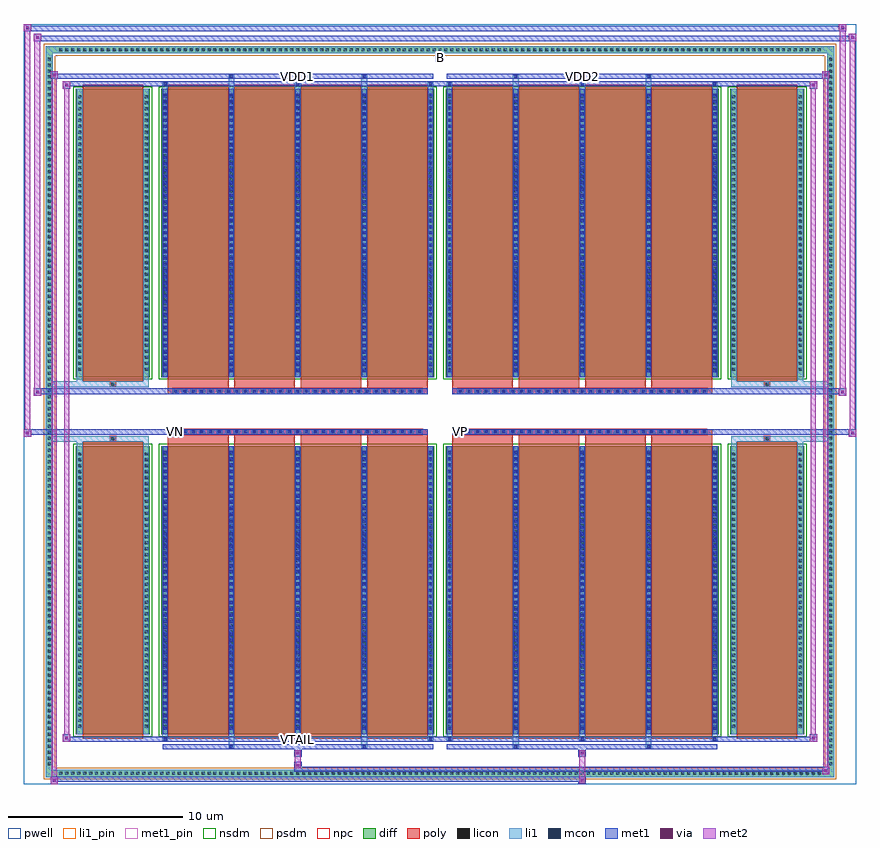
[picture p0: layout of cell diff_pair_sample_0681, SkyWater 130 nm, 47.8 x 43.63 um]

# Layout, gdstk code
import gdstk
lib = gdstk.Library(unit=1e-6, precision=5e-09)
def R(c, l, rs):  # rectangles x0, y0, x1, y1
    for r in rs: c.add(gdstk.rectangle(r[:2], r[2:], *l))
def A(c, l, x, y, w, h, nx, ny, dx, dy):  # array of equal rectangles
    R(c, l, [(x+i*dx, y+j*dy, x+i*dx+w, y+j*dy+h) for i in range(nx) for j in range(ny)])
def P(c, l, *ps):  # polygons
    for p in ps: c.add(gdstk.Polygon(p, *l))
pwell = (64, 44)
diff = (65, 20)
poly = (66, 20)
licon = (66, 44)
li1_pin = (67, 16)
li1 = (67, 20)
mcon = (67, 44)
met1_pin = (68, 16)
met1 = (68, 20)
via = (68, 44)
met2 = (69, 20)
nsdm = (93, 44)
psdm = (94, 20)
npc = (95, 20)

diff_pair_sample_0681 = lib.new_cell('diff_pair_sample_0681')
R(diff_pair_sample_0681, pwell, [(-23.9,-21.38,23.9,22.25), (-21.22,-19.57,-0.01,-0.805), (0.01,-19.57,21.22,-0.805), (-21.22,0.805,-0.01,19.57), (0.01,0.805,21.22,19.57)])
A(diff_pair_sample_0681, diff, -21.965, -20.98, 0.41, 0.41, 129, 2, 0.34, 41.55)
A(diff_pair_sample_0681, diff, -22.63, -20.435, 0.41, 0.41, 1, 120, 0, 0.34)
A(diff_pair_sample_0681, diff, 22.22, -20.435, 0.41, 0.41, 1, 120, 0, 0.34)
R(diff_pair_sample_0681, diff, [(-21.965,-20.98,21.965,-20.57), (-22.63,-20.435,-22.22,20.435), (22.22,-20.435,22.63,20.435), (-20.91,-18.525,-16.65,-1.985), (-16.01,-18.525,-0.32,-1.985), (0.32,-18.525,16.01,-1.985), (16.65,-18.525,20.91,-1.985), (-20.91,1.985,-16.65,18.525), (-16.01,1.985,-0.32,18.525), (0.32,1.985,16.01,18.525), (16.65,1.985,20.91,18.525), (-21.965,20.57,21.965,20.98)])
P(diff_pair_sample_0681, diff, [(22.63,20.98),(-22.63,20.98),(-22.63,-20.57),(-22.22,-20.57),(-22.22,20.57),(22.22,20.57),(22.22,-20.57),(-22.22,-20.57),(-22.63,-20.57),(-22.63,-20.98),(22.63,-20.98)])
A(diff_pair_sample_0681, poly, -15.62, -18.775, 3.48, 17.04, 4, 2, 3.81, 20.51)
A(diff_pair_sample_0681, poly, 0.71, -18.775, 3.48, 17.04, 4, 2, 3.81, 20.51)
A(diff_pair_sample_0681, poly, -15.62, -1.735, 3.48, 0.4, 4, 2, 3.81, 3.07)
A(diff_pair_sample_0681, poly, 0.71, -1.735, 3.48, 0.4, 4, 2, 3.81, 3.07)
A(diff_pair_sample_0681, poly, -15.33, -1.335, 0.33, 0.33, 29, 2, 0.5, 2.34)
A(diff_pair_sample_0681, poly, 1, -1.335, 0.33, 0.33, 29, 2, 0.5, 2.34)
R(diff_pair_sample_0681, poly, [(-20.52,-18.775,-17.04,-1.735), (17.04,-18.775,20.52,-1.735), (-18.945,-1.735,-18.615,-1.405), (-18.945,-1.735,-18.615,-1.405), (18.615,-1.735,18.945,-1.405), (18.615,-1.735,18.945,-1.405), (-15.62,-1.335,-0.71,-1.005), (0.71,-1.335,15.62,-1.005), (-15.62,1.005,-0.71,1.335), (0.71,1.005,15.62,1.335), (-18.945,1.405,-18.615,1.735), (-18.945,1.405,-18.615,1.735), (18.615,1.405,18.945,1.735), (18.615,1.405,18.945,1.735), (-20.52,1.735,-17.04,18.775), (17.04,1.735,20.52,18.775)])
A(diff_pair_sample_0681, licon, -21.845, -20.86, 0.17, 0.17, 129, 2, 0.34, 41.55)
A(diff_pair_sample_0681, licon, -22.51, -20.315, 0.17, 0.17, 1, 120, 0, 0.34)
A(diff_pair_sample_0681, licon, 22.34, -20.315, 0.17, 0.17, 1, 120, 0, 0.34)
A(diff_pair_sample_0681, licon, -20.77, -18.16, 0.17, 0.17, 1, 47, 0, 0.34)
A(diff_pair_sample_0681, licon, -16.96, -18.16, 0.17, 0.17, 1, 47, 0, 0.34)
A(diff_pair_sample_0681, licon, -15.87, -18.16, 0.17, 0.17, 5, 47, 3.81, 0.34)
A(diff_pair_sample_0681, licon, 0.46, -18.16, 0.17, 0.17, 5, 47, 3.81, 0.34)
A(diff_pair_sample_0681, licon, 16.79, -18.16, 0.17, 0.17, 1, 47, 0, 0.34)
A(diff_pair_sample_0681, licon, 20.6, -18.16, 0.17, 0.17, 1, 47, 0, 0.34)
A(diff_pair_sample_0681, licon, -15.25, -1.255, 0.17, 0.17, 29, 2, 0.5, 2.34)
A(diff_pair_sample_0681, licon, 1.08, -1.255, 0.17, 0.17, 29, 2, 0.5, 2.34)
A(diff_pair_sample_0681, licon, -20.77, 2.35, 0.17, 0.17, 1, 47, 0, 0.34)
A(diff_pair_sample_0681, licon, -16.96, 2.35, 0.17, 0.17, 1, 47, 0, 0.34)
A(diff_pair_sample_0681, licon, -15.87, 2.35, 0.17, 0.17, 5, 47, 3.81, 0.34)
A(diff_pair_sample_0681, licon, 0.46, 2.35, 0.17, 0.17, 5, 47, 3.81, 0.34)
A(diff_pair_sample_0681, licon, 16.79, 2.35, 0.17, 0.17, 1, 47, 0, 0.34)
A(diff_pair_sample_0681, licon, 20.6, 2.35, 0.17, 0.17, 1, 47, 0, 0.34)
R(diff_pair_sample_0681, licon, [(-18.865,-1.655,-18.695,-1.485), (18.695,-1.655,18.865,-1.485), (-18.865,1.485,-18.695,1.655), (18.695,1.485,18.865,1.655)])
R(diff_pair_sample_0681, li1_pin, [(-0.25,20.07,0.25,20.57)])
A(diff_pair_sample_0681, li1, -21.925, -20.94, 0.33, 0.33, 129, 2, 0.34, 41.55)
A(diff_pair_sample_0681, li1, -22.59, -20.395, 0.33, 0.33, 1, 120, 0, 0.34)
A(diff_pair_sample_0681, li1, 22.26, -20.395, 0.33, 0.33, 1, 120, 0, 0.34)
A(diff_pair_sample_0681, li1, -15.95, -18.9, 0.33, 0.375, 3, 2, 7.62, 37.425)
A(diff_pair_sample_0681, li1, -15.87, -18.9, 0.17, 0.17, 3, 2, 7.62, 37.63)
A(diff_pair_sample_0681, li1, 0.38, -18.9, 0.33, 0.375, 3, 2, 7.62, 37.425)
A(diff_pair_sample_0681, li1, 0.46, -18.9, 0.17, 0.17, 3, 2, 7.62, 37.63)
A(diff_pair_sample_0681, li1, -15.95, -18.525, 0.33, 16.54, 5, 2, 3.81, 20.51)
A(diff_pair_sample_0681, li1, 0.38, -18.525, 0.33, 16.54, 5, 2, 3.81, 20.51)
A(diff_pair_sample_0681, li1, -15.87, -18.26, 0.17, 0.17, 5, 45, 3.81, 0.36)
A(diff_pair_sample_0681, li1, -15.87, -18.26, 0.17, 16.01, 5, 2, 3.81, 20.51)
A(diff_pair_sample_0681, li1, 0.46, -18.26, 0.17, 0.17, 5, 45, 3.81, 0.36)
A(diff_pair_sample_0681, li1, 0.46, -18.26, 0.17, 16.01, 5, 2, 3.81, 20.51)
A(diff_pair_sample_0681, li1, -20.85, -18.24, 0.33, 0.33, 1, 47, 0, 0.34)
A(diff_pair_sample_0681, li1, -17.04, -18.24, 0.33, 0.33, 1, 47, 0, 0.34)
A(diff_pair_sample_0681, li1, -15.95, -18.24, 0.33, 0.33, 5, 47, 3.81, 0.34)
A(diff_pair_sample_0681, li1, 0.38, -18.24, 0.33, 0.33, 5, 47, 3.81, 0.34)
A(diff_pair_sample_0681, li1, 16.71, -18.24, 0.33, 0.33, 1, 47, 0, 0.34)
A(diff_pair_sample_0681, li1, 20.52, -18.24, 0.33, 0.33, 1, 47, 0, 0.34)
A(diff_pair_sample_0681, li1, -15.33, -1.335, 0.33, 0.33, 29, 2, 0.5, 2.34)
A(diff_pair_sample_0681, li1, 1, -1.335, 0.33, 0.33, 29, 2, 0.5, 2.34)
A(diff_pair_sample_0681, li1, -15.87, 2.25, 0.17, 0.17, 5, 45, 3.81, 0.36)
A(diff_pair_sample_0681, li1, 0.46, 2.25, 0.17, 0.17, 5, 45, 3.81, 0.36)
A(diff_pair_sample_0681, li1, -20.85, 2.27, 0.33, 0.33, 1, 47, 0, 0.34)
A(diff_pair_sample_0681, li1, -17.04, 2.27, 0.33, 0.33, 1, 47, 0, 0.34)
A(diff_pair_sample_0681, li1, -15.95, 2.27, 0.33, 0.33, 5, 47, 3.81, 0.34)
A(diff_pair_sample_0681, li1, 0.38, 2.27, 0.33, 0.33, 5, 47, 3.81, 0.34)
A(diff_pair_sample_0681, li1, 16.71, 2.27, 0.33, 0.33, 1, 47, 0, 0.34)
A(diff_pair_sample_0681, li1, 20.52, 2.27, 0.33, 0.33, 1, 47, 0, 0.34)
R(diff_pair_sample_0681, li1, [(-22.63,-20.98,-22.22,-20.57), (-22.63,-20.98,-22.22,-20.57), (-22.22,-20.98,22.22,-20.57), (22.22,-20.98,22.63,-20.57), (22.22,-20.98,22.63,-20.57), (-22.63,-20.57,-22.22,20.57), (22.22,-20.57,22.63,20.57), (-12.14,-19.33,-11.81,-18.525), (-12.06,-19.33,-11.89,-19.16), (-4.52,-19.33,-4.19,-18.525), (-4.44,-19.33,-4.27,-19.16), (4.19,-19.33,4.52,-18.525), (4.27,-19.33,4.44,-19.16), (11.81,-19.33,12.14,-18.525), (11.89,-19.33,12.06,-19.16), (-20.85,-18.525,-20.52,-1.985), (-17.04,-18.525,-16.71,-1.985), (16.71,-18.525,17.04,-1.985), (20.52,-18.525,20.85,-1.985), (-20.85,-1.985,-20.52,-1.405), (-17.04,-1.985,-16.71,-1.405), (16.71,-1.985,17.04,-1.405), (20.52,-1.985,20.85,-1.405), (-22.63,-1.735,-18.945,-1.405), (-20.85,-1.735,-18.945,-1.405), (-18.945,-1.735,-18.615,-1.405), (-18.615,-1.735,-16.71,-1.405), (16.71,-1.735,18.615,-1.405), (18.615,-1.735,18.945,-1.405), (18.615,-1.735,22.63,-1.405), (18.945,-1.735,20.85,-1.405), (-22.63,1.405,-18.945,1.735), (-20.85,1.405,-18.945,1.735), (-20.85,1.405,-20.52,1.985), (-18.945,1.405,-18.615,1.735), (-18.615,1.405,-16.71,1.735), (-17.04,1.405,-16.71,1.985), (16.71,1.405,18.615,1.735), (16.71,1.405,17.04,1.985), (18.615,1.405,18.945,1.735), (18.615,1.405,22.63,1.735), (18.945,1.405,20.85,1.735), (20.52,1.405,20.85,1.985), (-20.85,1.985,-20.52,18.525), (-17.04,1.985,-16.71,18.525), (16.71,1.985,17.04,18.525), (20.52,1.985,20.85,18.525), (-12.14,18.525,-11.81,19.33), (-4.52,18.525,-4.19,19.33), (4.19,18.525,4.52,19.33), (11.81,18.525,12.14,19.33), (-12.06,19.16,-11.89,19.33), (-4.44,19.16,-4.27,19.33), (4.27,19.16,4.44,19.33), (11.89,19.16,12.06,19.33), (-22.63,20.57,-22.22,20.98), (-22.63,20.57,-22.22,20.98), (-22.22,20.57,22.22,20.98), (22.22,20.57,22.63,20.98), (22.22,20.57,22.63,20.98)])
A(diff_pair_sample_0681, mcon, -15.87, -18.9, 0.17, 0.17, 3, 2, 7.62, 37.63)
A(diff_pair_sample_0681, mcon, 0.46, -18.9, 0.17, 0.17, 3, 2, 7.62, 37.63)
A(diff_pair_sample_0681, mcon, -15.87, -18.26, 0.17, 0.17, 5, 45, 3.81, 0.36)
A(diff_pair_sample_0681, mcon, 0.46, -18.26, 0.17, 0.17, 5, 45, 3.81, 0.36)
A(diff_pair_sample_0681, mcon, -15.25, -1.255, 0.17, 0.17, 29, 2, 0.5, 2.34)
A(diff_pair_sample_0681, mcon, 1.08, -1.255, 0.17, 0.17, 29, 2, 0.5, 2.34)
A(diff_pair_sample_0681, mcon, -15.87, 2.25, 0.17, 0.17, 5, 45, 3.81, 0.36)
A(diff_pair_sample_0681, mcon, 0.46, 2.25, 0.17, 0.17, 5, 45, 3.81, 0.36)
R(diff_pair_sample_0681, mcon, [(-12.06,-19.33,-11.89,-19.16), (-4.44,-19.33,-4.27,-19.16), (4.27,-19.33,4.44,-19.16), (11.89,-19.33,12.06,-19.16), (-12.06,19.16,-11.89,19.33), (-4.44,19.16,-4.27,19.33), (4.27,19.16,4.44,19.33), (11.89,19.16,12.06,19.33)])
R(diff_pair_sample_0681, met1_pin, [(-8.3,-18.94,-8.03,-18.67), (-15.3,-1.295,-15.03,-1.025), (1.03,-1.295,1.3,-1.025), (-8.3,19.12,-8.03,19.39), (8.03,19.12,8.3,19.39)])
A(diff_pair_sample_0681, met1, -15.93, -18.96, 0.29, 0.29, 3, 2, 7.62, 37.63)
A(diff_pair_sample_0681, met1, 0.4, -18.96, 0.29, 0.29, 3, 2, 7.62, 37.63)
A(diff_pair_sample_0681, met1, -15.93, -18.525, 0.29, 16.54, 5, 2, 3.81, 20.51)
A(diff_pair_sample_0681, met1, 0.4, -18.525, 0.29, 16.54, 5, 2, 3.81, 20.51)
A(diff_pair_sample_0681, met1, -15.93, -18.32, 0.29, 0.29, 5, 45, 3.81, 0.36)
A(diff_pair_sample_0681, met1, 0.4, -18.32, 0.29, 0.29, 5, 45, 3.81, 0.36)
A(diff_pair_sample_0681, met1, -15.31, -1.315, 0.29, 0.29, 29, 2, 0.5, 2.34)
A(diff_pair_sample_0681, met1, 1.02, -1.315, 0.29, 0.29, 29, 2, 0.5, 2.34)
A(diff_pair_sample_0681, met1, -15.93, 2.19, 0.29, 0.29, 5, 45, 3.81, 0.36)
A(diff_pair_sample_0681, met1, 0.4, 2.19, 0.29, 0.29, 5, 45, 3.81, 0.36)
R(diff_pair_sample_0681, met1, [(-22.36,-21.38,-21.93,-20.95), (7.95,-21.38,8.38,-20.95), (-22.36,-21.24,8.38,-20.95), (21.93,-20.81,22.36,-20.38), (-8.38,-20.67,22.36,-20.38), (-8.38,-20.53,-7.95,-20.1), (-8.38,-19.82,-7.95,-19.39), (7.95,-19.82,8.38,-19.39), (-15.93,-19.39,-0.4,-19.1), (-12.12,-19.39,-11.83,-19.1), (-4.5,-19.39,-4.21,-19.1), (0.4,-19.39,15.93,-19.1), (4.21,-19.39,4.5,-19.1), (11.83,-19.39,12.12,-19.1), (-21.65,-18.96,-21.22,-18.53), (-21.65,-18.96,-15.93,-18.67), (-15.93,-18.96,-0.4,-18.67), (-0.4,-18.96,0.4,-18.67), (0.4,-18.96,15.93,-18.67), (15.93,-18.96,21.65,-18.67), (21.22,-18.96,21.65,-18.53), (-23.9,-1.435,-23.47,-1.005), (23.47,-1.435,23.9,-1.005), (-23.9,-1.335,-0.71,-1.005), (-15.62,-1.335,-0.71,-1.005), (0.71,-1.335,15.62,-1.005), (0.71,-1.335,23.9,-1.005), (-23.33,0.905,-22.9,1.335), (22.9,0.905,23.33,1.335), (-23.33,1.005,-15.62,1.335), (-15.62,1.005,-0.71,1.335), (0.71,1.005,15.62,1.335), (15.62,1.005,23.33,1.335), (-21.65,18.53,-21.22,18.96), (21.22,18.53,21.65,18.96), (-21.65,18.67,-15.93,18.96), (-15.93,18.67,-0.4,18.96), (-0.4,18.67,0.4,18.96), (0.4,18.67,15.93,18.96), (15.93,18.67,21.65,18.96), (-22.36,19.1,-21.93,19.53), (-22.36,19.1,-15.93,19.39), (-15.93,19.1,-0.4,19.39), (-12.12,19.1,-11.83,19.39), (-4.5,19.1,-4.21,19.39), (0.4,19.1,15.93,19.39), (4.21,19.1,4.5,19.39), (11.83,19.1,12.12,19.39), (15.93,19.1,22.36,19.39), (21.93,19.1,22.36,19.53), (-23.33,21.25,-22.9,21.68), (-23.33,21.25,-21.22,21.58), (-21.22,21.25,21.22,21.58), (21.22,21.25,23.9,21.58), (23.47,21.25,23.9,21.68), (-23.9,21.82,-23.47,22.25), (-23.9,21.82,-21.22,22.15), (-21.22,21.82,21.22,22.15), (21.22,21.82,23.33,22.15), (22.9,21.82,23.33,22.25)])
R(diff_pair_sample_0681, via, [(-22.22,-21.24,-22.07,-21.09), (8.09,-21.24,8.24,-21.09), (22.07,-20.67,22.22,-20.52), (-8.24,-20.39,-8.09,-20.24), (-8.24,-19.68,-8.09,-19.53), (8.09,-19.68,8.24,-19.53), (-21.51,-18.82,-21.36,-18.67), (21.36,-18.82,21.51,-18.67), (-23.76,-1.295,-23.61,-1.145), (23.61,-1.295,23.76,-1.145), (-23.19,1.045,-23.04,1.195), (23.04,1.045,23.19,1.195), (-21.51,18.67,-21.36,18.82), (21.36,18.67,21.51,18.82), (-22.22,19.24,-22.07,19.39), (22.07,19.24,22.22,19.39), (-23.19,21.39,-23.04,21.54), (23.61,21.39,23.76,21.54), (-23.76,21.96,-23.61,22.11), (23.04,21.96,23.19,22.11)])
R(diff_pair_sample_0681, met2, [(-22.36,-21.38,-21.93,-20.95), (-22.29,-21.38,-22,19.53), (-22,-21.38,-21.93,-20.95), (-22.31,-21.33,-21.98,-21), (8,-21.33,8.33,-21), (8,-21,8.33,-19.77), (21.93,-20.81,22.36,-20.38), (22,-20.81,22.29,19.53), (22.29,-20.81,22.36,-20.38), (21.98,-20.76,22.31,-20.43), (-8.33,-20.48,-8,-20.15), (-8.33,-20.15,-8,-19.77), (-8.33,-19.77,-8,-19.44), (8,-19.77,8.33,-19.44), (-21.65,-18.96,-21.22,-18.53), (-21.58,-18.96,-21.29,18.96), (-21.29,-18.96,-21.22,-18.53), (21.22,-18.96,21.65,-18.53), (21.29,-18.96,21.58,18.96), (21.58,-18.96,21.65,-18.53), (-21.6,-18.91,-21.27,-18.58), (21.27,-18.91,21.6,-18.58), (-23.9,-1.435,-23.47,-1.005), (-23.85,-1.435,-23.52,22.25), (-23.52,-1.435,-23.47,-1.005), (23.47,-1.435,23.9,-1.005), (23.52,-1.435,23.85,21.68), (23.85,-1.435,23.9,-1.005), (-23.85,-1.385,-23.52,-1.055), (23.52,-1.385,23.85,-1.055), (-23.33,0.905,-22.9,1.335), (-23.28,0.905,-22.95,21.68), (-22.95,0.905,-22.9,1.335), (22.9,0.905,23.33,1.335), (22.95,0.905,23.28,22.25), (23.28,0.905,23.33,1.335), (-23.28,0.955,-22.95,1.285), (22.95,0.955,23.28,1.285), (-21.65,18.53,-21.22,18.96), (-21.29,18.53,-21.22,18.96), (21.22,18.53,21.65,18.96), (21.58,18.53,21.65,18.96), (-21.6,18.58,-21.27,18.91), (21.27,18.58,21.6,18.91), (-22.36,19.1,-21.93,19.53), (-22,19.1,-21.93,19.53), (21.93,19.1,22.36,19.53), (22.29,19.1,22.36,19.53), (-22.31,19.15,-21.98,19.48), (21.98,19.15,22.31,19.48), (-23.33,21.25,-22.9,21.68), (-22.95,21.25,-22.9,21.68), (23.47,21.25,23.9,21.68), (23.85,21.25,23.9,21.68), (-23.28,21.3,-22.95,21.63), (23.52,21.3,23.85,21.63), (-23.9,21.82,-23.47,22.25), (-23.52,21.82,-23.47,22.25), (22.9,21.82,23.33,22.25), (23.28,21.82,23.33,22.25), (-23.85,21.87,-23.52,22.2), (22.95,21.87,23.28,22.2)])
R(diff_pair_sample_0681, nsdm, [(-21.04,-18.655,-16.52,-1.855), (-16.14,-18.655,-0.19,-1.855), (0.19,-18.655,16.14,-1.855), (16.52,-18.655,21.04,-1.855), (-21.04,1.855,-16.52,18.655), (-16.14,1.855,-0.19,18.655), (0.19,1.855,16.14,18.655), (16.52,1.855,21.04,18.655)])
P(diff_pair_sample_0681, psdm, [(22.76,21.11),(-22.76,21.11),(-22.76,-20.44),(-22.09,-20.44),(-22.09,20.44),(22.09,20.44),(22.09,-20.44),(-22.09,-20.44),(-22.76,-20.44),(-22.76,-21.11),(22.76,-21.11)])
A(diff_pair_sample_0681, npc, -15.35, -1.355, 0.37, 0.37, 29, 2, 0.5, 2.34)
A(diff_pair_sample_0681, npc, 0.98, -1.355, 0.37, 0.37, 29, 2, 0.5, 2.34)
R(diff_pair_sample_0681, npc, [(-18.965,-1.755,-18.595,-1.385), (18.595,-1.755,18.965,-1.385), (-15.35,-1.355,-14.48,-0.985), (-15.35,-1.355,-14.48,-0.985), (-14.85,-1.355,-13.98,-0.985), (-14.85,-1.355,-13.98,-0.985), (-14.35,-1.355,-13.48,-0.985), (-14.35,-1.355,-13.48,-0.985), (-13.85,-1.355,-12.98,-0.985), (-13.85,-1.355,-12.98,-0.985), (-13.35,-1.355,-12.48,-0.985), (-13.35,-1.355,-12.48,-0.985), (-12.85,-1.355,-11.98,-0.985), (-12.85,-1.355,-11.98,-0.985), (-12.35,-1.355,-11.48,-0.985), (-12.35,-1.355,-11.48,-0.985), (-11.85,-1.355,-10.98,-0.985), (-11.85,-1.355,-10.98,-0.985), (-11.35,-1.355,-10.48,-0.985), (-11.35,-1.355,-10.48,-0.985), (-10.85,-1.355,-9.98,-0.985), (-10.85,-1.355,-9.98,-0.985), (-10.35,-1.355,-9.48,-0.985), (-10.35,-1.355,-9.48,-0.985), (-9.85,-1.355,-8.98,-0.985), (-9.85,-1.355,-8.98,-0.985), (-9.35,-1.355,-8.48,-0.985), (-9.35,-1.355,-8.48,-0.985), (-8.85,-1.355,-7.98,-0.985), (-8.85,-1.355,-7.98,-0.985), (-8.35,-1.355,-7.48,-0.985), (-8.35,-1.355,-7.48,-0.985), (-7.85,-1.355,-6.98,-0.985), (-7.85,-1.355,-6.98,-0.985), (-7.35,-1.355,-6.48,-0.985), (-7.35,-1.355,-6.48,-0.985), (-6.85,-1.355,-5.98,-0.985), (-6.85,-1.355,-5.98,-0.985), (-6.35,-1.355,-5.48,-0.985), (-6.35,-1.355,-5.48,-0.985), (-5.85,-1.355,-4.98,-0.985), (-5.85,-1.355,-4.98,-0.985), (-5.35,-1.355,-4.48,-0.985), (-5.35,-1.355,-4.48,-0.985), (-4.85,-1.355,-3.98,-0.985), (-4.85,-1.355,-3.98,-0.985), (-4.35,-1.355,-3.48,-0.985), (-4.35,-1.355,-3.48,-0.985), (-3.85,-1.355,-2.98,-0.985), (-3.85,-1.355,-2.98,-0.985), (-3.35,-1.355,-2.48,-0.985), (-3.35,-1.355,-2.48,-0.985), (-2.85,-1.355,-1.98,-0.985), (-2.85,-1.355,-1.98,-0.985), (-2.35,-1.355,-1.48,-0.985), (-2.35,-1.355,-1.48,-0.985), (-1.85,-1.355,-0.98,-0.985), (-1.85,-1.355,-0.98,-0.985), (0.98,-1.355,1.85,-0.985), (0.98,-1.355,1.85,-0.985), (1.48,-1.355,2.35,-0.985), (1.48,-1.355,2.35,-0.985), (1.98,-1.355,2.85,-0.985), (1.98,-1.355,2.85,-0.985), (2.48,-1.355,3.35,-0.985), (2.48,-1.355,3.35,-0.985), (2.98,-1.355,3.85,-0.985), (2.98,-1.355,3.85,-0.985), (3.48,-1.355,4.35,-0.985), (3.48,-1.355,4.35,-0.985), (3.98,-1.355,4.85,-0.985), (3.98,-1.355,4.85,-0.985), (4.48,-1.355,5.35,-0.985), (4.48,-1.355,5.35,-0.985), (4.98,-1.355,5.85,-0.985), (4.98,-1.355,5.85,-0.985), (5.48,-1.355,6.35,-0.985), (5.48,-1.355,6.35,-0.985), (5.98,-1.355,6.85,-0.985), (5.98,-1.355,6.85,-0.985), (6.48,-1.355,7.35,-0.985), (6.48,-1.355,7.35,-0.985), (6.98,-1.355,7.85,-0.985), (6.98,-1.355,7.85,-0.985), (7.48,-1.355,8.35,-0.985), (7.48,-1.355,8.35,-0.985), (7.98,-1.355,8.85,-0.985), (7.98,-1.355,8.85,-0.985), (8.48,-1.355,9.35,-0.985), (8.48,-1.355,9.35,-0.985), (8.98,-1.355,9.85,-0.985), (8.98,-1.355,9.85,-0.985), (9.48,-1.355,10.35,-0.985), (9.48,-1.355,10.35,-0.985), (9.98,-1.355,10.85,-0.985), (9.98,-1.355,10.85,-0.985), (10.48,-1.355,11.35,-0.985), (10.48,-1.355,11.35,-0.985), (10.98,-1.355,11.85,-0.985), (10.98,-1.355,11.85,-0.985), (11.48,-1.355,12.35,-0.985), (11.48,-1.355,12.35,-0.985), (11.98,-1.355,12.85,-0.985), (11.98,-1.355,12.85,-0.985), (12.48,-1.355,13.35,-0.985), (12.48,-1.355,13.35,-0.985), (12.98,-1.355,13.85,-0.985), (12.98,-1.355,13.85,-0.985), (13.48,-1.355,14.35,-0.985), (13.48,-1.355,14.35,-0.985), (13.98,-1.355,14.85,-0.985), (13.98,-1.355,14.85,-0.985), (14.48,-1.355,15.35,-0.985), (14.48,-1.355,15.35,-0.985), (-15.35,0.985,-14.48,1.355), (-15.35,0.985,-14.48,1.355), (-14.85,0.985,-13.98,1.355), (-14.85,0.985,-13.98,1.355), (-14.35,0.985,-13.48,1.355), (-14.35,0.985,-13.48,1.355), (-13.85,0.985,-12.98,1.355), (-13.85,0.985,-12.98,1.355), (-13.35,0.985,-12.48,1.355), (-13.35,0.985,-12.48,1.355), (-12.85,0.985,-11.98,1.355), (-12.85,0.985,-11.98,1.355), (-12.35,0.985,-11.48,1.355), (-12.35,0.985,-11.48,1.355), (-11.85,0.985,-10.98,1.355), (-11.85,0.985,-10.98,1.355), (-11.35,0.985,-10.48,1.355), (-11.35,0.985,-10.48,1.355), (-10.85,0.985,-9.98,1.355), (-10.85,0.985,-9.98,1.355), (-10.35,0.985,-9.48,1.355), (-10.35,0.985,-9.48,1.355), (-9.85,0.985,-8.98,1.355), (-9.85,0.985,-8.98,1.355), (-9.35,0.985,-8.48,1.355), (-9.35,0.985,-8.48,1.355), (-8.85,0.985,-7.98,1.355), (-8.85,0.985,-7.98,1.355), (-8.35,0.985,-7.48,1.355), (-8.35,0.985,-7.48,1.355), (-7.85,0.985,-6.98,1.355), (-7.85,0.985,-6.98,1.355), (-7.35,0.985,-6.48,1.355), (-7.35,0.985,-6.48,1.355), (-6.85,0.985,-5.98,1.355), (-6.85,0.985,-5.98,1.355), (-6.35,0.985,-5.48,1.355), (-6.35,0.985,-5.48,1.355), (-5.85,0.985,-4.98,1.355), (-5.85,0.985,-4.98,1.355), (-5.35,0.985,-4.48,1.355), (-5.35,0.985,-4.48,1.355), (-4.85,0.985,-3.98,1.355), (-4.85,0.985,-3.98,1.355), (-4.35,0.985,-3.48,1.355), (-4.35,0.985,-3.48,1.355), (-3.85,0.985,-2.98,1.355), (-3.85,0.985,-2.98,1.355), (-3.35,0.985,-2.48,1.355), (-3.35,0.985,-2.48,1.355), (-2.85,0.985,-1.98,1.355), (-2.85,0.985,-1.98,1.355), (-2.35,0.985,-1.48,1.355), (-2.35,0.985,-1.48,1.355), (-1.85,0.985,-0.98,1.355), (-1.85,0.985,-0.98,1.355), (0.98,0.985,1.85,1.355), (0.98,0.985,1.85,1.355), (1.48,0.985,2.35,1.355), (1.48,0.985,2.35,1.355), (1.98,0.985,2.85,1.355), (1.98,0.985,2.85,1.355), (2.48,0.985,3.35,1.355), (2.48,0.985,3.35,1.355), (2.98,0.985,3.85,1.355), (2.98,0.985,3.85,1.355), (3.48,0.985,4.35,1.355), (3.48,0.985,4.35,1.355), (3.98,0.985,4.85,1.355), (3.98,0.985,4.85,1.355), (4.48,0.985,5.35,1.355), (4.48,0.985,5.35,1.355), (4.98,0.985,5.85,1.355), (4.98,0.985,5.85,1.355), (5.48,0.985,6.35,1.355), (5.48,0.985,6.35,1.355), (5.98,0.985,6.85,1.355), (5.98,0.985,6.85,1.355), (6.48,0.985,7.35,1.355), (6.48,0.985,7.35,1.355), (6.98,0.985,7.85,1.355), (6.98,0.985,7.85,1.355), (7.48,0.985,8.35,1.355), (7.48,0.985,8.35,1.355), (7.98,0.985,8.85,1.355), (7.98,0.985,8.85,1.355), (8.48,0.985,9.35,1.355), (8.48,0.985,9.35,1.355), (8.98,0.985,9.85,1.355), (8.98,0.985,9.85,1.355), (9.48,0.985,10.35,1.355), (9.48,0.985,10.35,1.355), (9.98,0.985,10.85,1.355), (9.98,0.985,10.85,1.355), (10.48,0.985,11.35,1.355), (10.48,0.985,11.35,1.355), (10.98,0.985,11.85,1.355), (10.98,0.985,11.85,1.355), (11.48,0.985,12.35,1.355), (11.48,0.985,12.35,1.355), (11.98,0.985,12.85,1.355), (11.98,0.985,12.85,1.355), (12.48,0.985,13.35,1.355), (12.48,0.985,13.35,1.355), (12.98,0.985,13.85,1.355), (12.98,0.985,13.85,1.355), (13.48,0.985,14.35,1.355), (13.48,0.985,14.35,1.355), (13.98,0.985,14.85,1.355), (13.98,0.985,14.85,1.355), (14.48,0.985,15.35,1.355), (14.48,0.985,15.35,1.355), (-18.965,1.385,-18.595,1.755), (18.595,1.385,18.965,1.755)])
diff_pair_sample_0681.add(gdstk.Label('VTAIL', (-8.165,-18.805), layer=68, texttype=5))
diff_pair_sample_0681.add(gdstk.Label('VN', (-15.165,-1.16), layer=68, texttype=5))
diff_pair_sample_0681.add(gdstk.Label('VP', (1.165,-1.16), layer=68, texttype=5))
diff_pair_sample_0681.add(gdstk.Label('B', (0,20.32), layer=67, texttype=5))
diff_pair_sample_0681.add(gdstk.Label('VDD2', (8.165,19.255), layer=68, texttype=5))
diff_pair_sample_0681.add(gdstk.Label('VDD1', (-8.165,19.255), layer=68, texttype=5))

lib.write_gds('diff_pair_sample_0681.gds')
